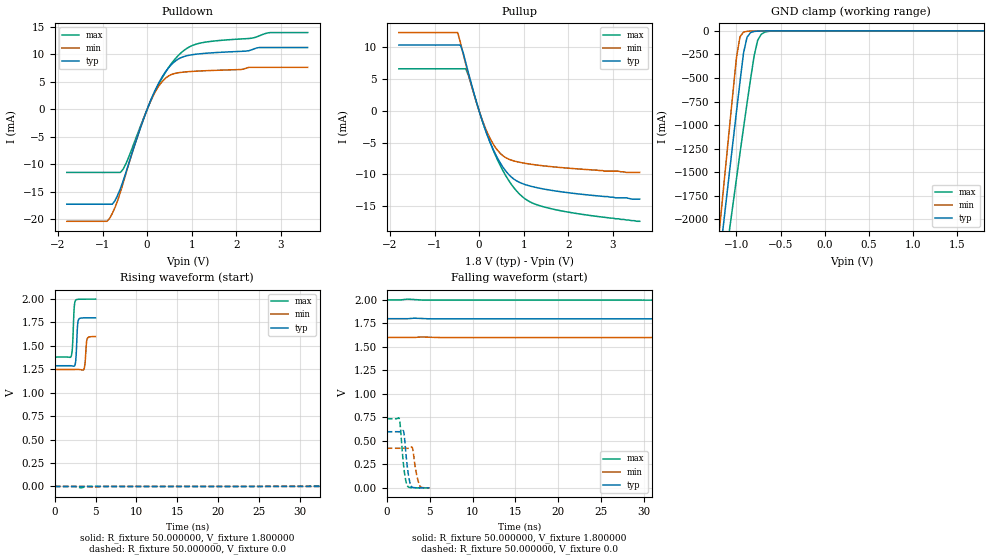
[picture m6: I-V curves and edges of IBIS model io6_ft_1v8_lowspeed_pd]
| [Disclaimer]  This information is for modeling purpose only and is
| not guaranted.
| The information is subject to change without notice.
| [Copyright] Copyright 2018 STMicroelectronics Inc.
| From stm32g071_081_ufqfpn28_gp.ibs, stm32g071_081_ufqfpn28_gp, STMicroelectronics
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|   Model io6_ft_1v8_lowspeed_pd
[Model]  io6_ft_1v8_lowspeed_pd
Model_type I/O
Polarity   Non-Inverting
Enable   Active-Low
Vinl =   0.540000V
Vinh =   1.260000V
Vmeas =  0.900000V
Cref =   50.000000pF
Rref =   100.000000M
Vref =   0.0V
C_comp   1.277600pF   1.236700pF   1.315100pF
[Temperature Range]   25.000000   -40.000000   0.125000k
[Pullup Reference]   1.800000V   1.600000V   2.000000V
[Pulldown Reference]   0.0V   0.0V   0.0V
[POWER Clamp Reference]   1.800000V   1.600000V   2.000000V
[GND Clamp Reference]   0.0V   0.0V   0.0V
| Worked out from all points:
|   slope of the pulldown table from 0 to 0.27 V, typ, clamps not added: 54.7 ohm
|   slope of the pullup table from 0 to 0.27 V, typ, clamps not added: 50.6 ohm
|   GND clamp passes 1 mA (typ) near -0.66 V on its own axis
|   rising waveform, R_fixture 50.000000, V_fixture 1.800000: 20-80 % time 165ps typ, 169ps min, 179ps max; typ from 1.29 V to 1.8 V
|   rising waveform, R_fixture 50.000000, V_fixture 0.0: 20-80 % time 98.3ns typ, 95.3ns min, 113ns max; typ from 0 V to 0.597 V
|   falling waveform, R_fixture 50.000000, V_fixture 1.800000: 20-80 % time 97.2ns typ, 101ns min, 96.3ns max; typ from 1.8 V to 1.29 V
|   falling waveform, R_fixture 50.000000, V_fixture 0.0: 20-80 % time 436ps typ, 477ps min, 446ps max; typ from 0.597 V to 0 V
[Pulldown]
|Voltage   I(typ)   I(min)   I(max)
-1.8V     -17.22mA   -20.33mA   -11.45mA
-900mV    -17.22mA   -20.33mA   -11.45mA
-720mV    -16.58mA   -17.82mA   -11.45mA
-600mV    -14.41mA   -15.08mA   -11.45mA
-480mV    -11.58mA   -11.79mA   -9.954mA
0V        10fA       0A         -100fA
240mV     4.49mA     3.999mA    4.291mA
480mV     7.563mA    6.085mA    7.612mA
780mV     9.487mA    6.76mA     10.43mA
1.14V     10.08mA    6.976mA    11.96mA
2.76V     11.26mA    7.652mA    13.98mA
3.6V      11.26mA    7.652mA    13.98mA
[Pullup]
|Voltage   I(typ)   I(min)   I(max)
-1.8V     10.37mA    12.34mA    6.631mA
-480mV    10.37mA    12.34mA    6.631mA
-420mV    10.37mA    10.77mA    6.631mA
-300mV    7.616mA    7.38mA     6.631mA
-240mV    5.996mA    5.774mA    5.612mA
-60mV     1.422mA    1.342mA    1.368mA
120mV     -2.605mA   -2.366mA   -2.563mA
360mV     -6.731mA   -5.708mA   -6.907mA
600mV     -9.499mA   -7.385mA   -10.25mA
960mV     -11.43mA   -8.172mA   -13.47mA
1.32V     -12.13mA   -8.557mA   -14.85mA
3.6V      -13.9mA    -9.7mA     -17.4mA
[GND_clamp]
|Voltage   I(typ)   I(min)   I(max)
-1.8V     -7.471A    -7.973A    -7.298A
-1.2V     -2.489A    -2.18A     -2.954A
-1.16V    -2.16A     -1.797A    -2.674A
-1.08V    -1.505A    -1.034A    -2.118A
-1V       -858mA     -283.1mA   -1.568A
-960mV    -540.4mA   -62.15mA   -1.296A
-920mV    -234.4mA   -13.76mA   -1.028A
-880mV    -66.3mA    -4.868mA   -765.3mA
-800mV    -6.518mA   -2.068mA   -266mA
-760mV    -3.087mA   -1.462mA   -100.4mA
-680mV    -1.228mA   -569.1uA   -14.21mA
1.8V      47.47uA    34.04uA    59.57uA
[POWER_clamp]
|Voltage   I(typ)   I(min)   I(max)
-1.8V     0A         0A         0A
0V        0A         0A         0A
[Ramp]
| variable   typ   min   max
dV/dt_r  0.35659/98.20826n   0.25127/95.30981n   0.43737/0.11265u
dV/dt_f  0.30048/97.23516n   0.19782/0.10086u   0.36600/96.30882n
R_load = 50.000000
[Rising Waveform]
R_fixture= 50.000000
V_fixture= 1.800000
V_fixture_min= 1.600000
V_fixture_max= 2.000000
|time   V(typ)   V(min)   V(max)
0s        1.288V     1.248V     1.381V
2.012ns   1.287V     1.248V     1.391V
2.172ns   1.285V     1.248V     1.498V
2.382ns   1.283V     1.248V     1.912V
2.543ns   1.327V     1.248V     1.984V
2.783ns   1.71V      1.248V     1.996V
2.913ns   1.779V     1.248V     1.997V
3.614ns   1.798V     1.262V     1.998V
3.994ns   1.799V     1.58V      1.998V
4.985ns   1.799V     1.599V     1.998V
[Rising Waveform]
R_fixture= 50.000000
V_fixture= 0.0
V_fixture_min= 0.0
V_fixture_max= 0.0
|time   V(typ)   V(min)   V(max)
0s        2.338nV    2.069nV    163nV
3.203ns   -1.318mV   -4.563uV   -15.15mV
38.44ns   156uV      -27.78uV   8.947mV
64.86ns   28.16mV    72.79uV    79.12mV
93.69ns   135.8mV    25.49mV    209.8mV
147.3ns   365.3mV    192.2mV    453.8mV
174.6ns   446.5mV    268.2mV    541.8mV
209ns     513.6mV    335.7mV    619.7mV
281.1ns   575.6mV    399.8mV    701mV
398.8ns   596.9mV    421mV      735.1mV
[Falling Waveform]
R_fixture= 50.000000
V_fixture= 1.800000
V_fixture_min= 1.600000
V_fixture_max= 2.000000
|time   V(typ)   V(min)   V(max)
0s        1.799V     1.599V     1.998V
53.65ns   1.798V     1.598V     1.98V
69.67ns   1.796V     1.598V     1.94V
93.69ns   1.772V     1.598V     1.848V
120.9ns   1.702V     1.597V     1.723V
157ns     1.569V     1.578V     1.574V
201.8ns   1.426V     1.496V     1.473V
235.4ns   1.366V     1.414V     1.436V
293.9ns   1.318V     1.31V      1.402V
398.8ns   1.288V     1.248V     1.381V
[Falling Waveform]
R_fixture= 50.000000
V_fixture= 0.0
V_fixture_min= 0.0
V_fixture_max= 0.0
|time   V(typ)   V(min)   V(max)
0s        596.9mV    421mV      735.1mV
1.451ns   596.8mV    421mV      737.2mV
1.572ns   596.5mV    421mV      660.6mV
1.972ns   595.4mV    421.3mV    229.2mV
2.432ns   196.7mV    420.6mV    17.71mV
2.693ns   57.72mV    422.7mV    3.022mV
2.993ns   5.64mV     424.3mV    950.3uV
3.443ns   1.019mV    157.5mV    247.6uV
3.864ns   287uV      20.99mV    72.99uV
4.985ns   2.338nV    2.069nV    163nV
